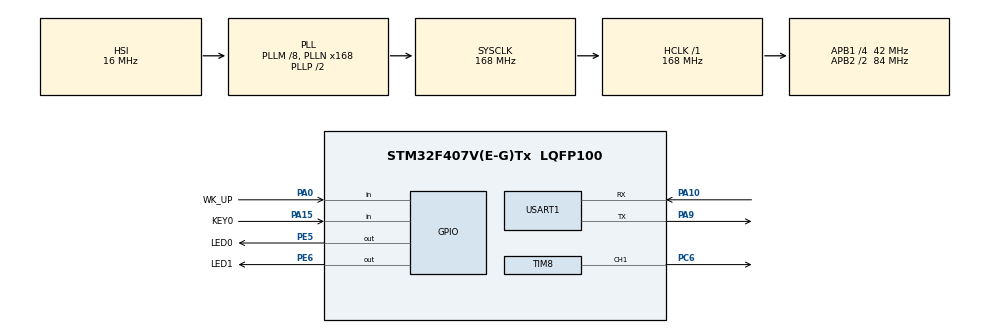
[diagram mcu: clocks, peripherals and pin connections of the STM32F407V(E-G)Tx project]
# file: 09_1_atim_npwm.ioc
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Mcu.Family=STM32F4
Mcu.Name=STM32F407V(E-G)Tx
Mcu.Package=LQFP100
NVIC.PriorityGroup=NVIC_PRIORITYGROUP_2
NVIC.TIM8_UP_TIM13_IRQn=true\:2\:1\:true\:false\:true\:true\:true\:true
NVIC.USART1_IRQn=true\:2\:2\:true\:false\:true\:true\:true\:true
PA0-WKUP.GPIO_Label=WK_UP
PA0-WKUP.GPIO_PuPd=GPIO_PULLDOWN
PA0-WKUP.Signal=GPIO_Input
PA10.Mode=Asynchronous
PA10.Signal=USART1_RX
PA13.Mode=Serial_Wire
PA13.Signal=SYS_JTMS-SWDIO
PA14.Mode=Serial_Wire
PA14.Signal=SYS_JTCK-SWCLK
PA15.GPIO_Label=KEY0
PA15.GPIO_PuPd=GPIO_PULLDOWN
PA15.Signal=GPIO_Input
PA9.Mode=Asynchronous
PA9.Signal=USART1_TX
PC14-OSC32_IN.Mode=LSE-External-Oscillator
PC14-OSC32_IN.Signal=RCC_OSC32_IN
PC15-OSC32_OUT.Mode=LSE-External-Oscillator
PC15-OSC32_OUT.Signal=RCC_OSC32_OUT
PC6.Signal=S_TIM8_CH1
PE5.GPIO_Label=LED0
PE5.GPIO_PuPd=GPIO_PULLUP
PE5.GPIO_Speed=GPIO_SPEED_FREQ_HIGH
PE5.PinState=GPIO_PIN_SET
PE5.Signal=GPIO_Output
PE6.GPIO_Label=LED1
PE6.GPIO_PuPd=GPIO_PULLUP
PE6.GPIO_Speed=GPIO_SPEED_FREQ_HIGH
PE6.PinState=GPIO_PIN_SET
PE6.Signal=GPIO_Output
PH0-OSC_IN.Mode=HSE-External-Oscillator
PH0-OSC_IN.Signal=RCC_OSC_IN
PH1-OSC_OUT.Mode=HSE-External-Oscillator
PH1-OSC_OUT.Signal=RCC_OSC_OUT
ProjectManager.HeapSize=0x200
ProjectManager.StackSize=0x400
ProjectManager.TargetToolchain=STM32CubeIDE
RCC.48MHZClocksFreq_Value=84000000
RCC.AHBFreq_Value=168000000
RCC.APB1CLKDivider=RCC_HCLK_DIV4
RCC.APB1Freq_Value=42000000
RCC.APB1TimFreq_Value=84000000
RCC.APB2CLKDivider=RCC_HCLK_DIV2
RCC.APB2Freq_Value=84000000
RCC.APB2TimFreq_Value=168000000
RCC.CortexFreq_Value=168000000
RCC.HCLKFreq_Value=168000000
RCC.HSE_VALUE=25000000
RCC.HSI_VALUE=16000000
RCC.PLLM=8
RCC.PLLN=168
RCC.SYSCLKFreq_VALUE=168000000
RCC.SYSCLKSource=RCC_SYSCLKSOURCE_PLLCLK
RCC.VCOOutputFreq_Value=336000000
SH.S_TIM8_CH1.0=TIM8_CH1,PWM Generation1 CH1
TIM8.AutoReloadPreload=TIM_AUTORELOAD_PRELOAD_ENABLE
TIM8.Channel-PWM\ Generation1\ CH1=TIM_CHANNEL_1
TIM8.OC1Preload_PWM=DISABLE
TIM8.Period=5000-1
TIM8.Prescaler=16800-1
TIM8.Pulse-PWM\ Generation1\ CH1=2500
USART1.VirtualMode=VM_ASYNC
VP_TIM8_VS_ClockSourceINT.Mode=Internal
board=custom

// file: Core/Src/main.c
/**
 ****************************************************************************************************
 * @file        main.c
 * @author      ALIENTEK
 * @brief       Advanced timer output a specified number of PWM code
 * @license     Copyright (C) 2012-2024, ALIENTEK
 ****************************************************************************************************
 * @attention
 *
 * platform     : ALIENTEK M100-STM32F407 board
 * website      : www.alientek.com
 * forum        : www.openedv.com/forum.php
 *
 * change logs  :
 * version      data         notes
 * V1.0         20240409     the first version
 *
 ****************************************************************************************************
 */

/* USER CODE BEGIN Header */

/* USER CODE END Header */
#include "main.h"
#include "tim.h"
#include "usart.h"
#include "gpio.h"

/* USER CODE BEGIN Includes */
#include "../../BSP/LED/led.h"
#include "../../BSP/KEY/key.h"
/* USER CODE END Includes */

/* USER CODE BEGIN PD */
/**
 * @brief   Displays information about the experiment
 * @param   None
 * @retval  None
 */
void stm32f407vg_show_mesg(void)
{
	/* The serial port outputs the experimental information */
	printf("\n");
	printf("********************************\r\n");
	printf("STM32F407\r\n");
	printf("ATIM PWM Count Test\r\n");
	printf("ATOM@ALIENTEK\r\n");
	printf("********************************\r\n");
	printf("\r\n");
}
/* USER CODE END PD */

void SystemClock_Config(void);

int main(void)
{
  /* USER CODE BEGIN 1 */
  uint8_t key = 0;
  uint8_t t = 0;
  /* USER CODE END 1 */

  /* MCU Configuration--------------------------------------------------------*/

  /* Reset of all peripherals, Initializes the Flash interface and the Systick. */
  HAL_Init();

  /* Configure the system clock */
  SystemClock_Config();

  /* Initialize all configured peripherals */
  MX_GPIO_Init();
  MX_USART1_UART_Init();
  MX_TIM8_Init();
  /* USER CODE BEGIN 2 */
  stm32f407vg_show_mesg();
  atim_timx_npwm_chy_set(5);      		/* Five PWM waves are output. */
  /* USER CODE END 2 */

  /* Infinite loop */
  /* USER CODE BEGIN WHILE */
  while (1)
  {
	  key = key_scan(0);             /* scan key */

	  if (key == KEY0_PRES)          /* KEY0 is pressed */
	  {
	  	 atim_timx_npwm_chy_set(5);  /* Control TIM8_CH1 output 5 PWM pulses. */
	  }

	  if (t > 20)                    /* Enter once in 200ms. */
	  {
	  	 t = 0;
	  	 LED0_TOGGLE();              /* LED0 blinks to prompt the program to run */
	  }
	  t++;
	  HAL_Delay(10);                 /* delay 10ms */
    /* USER CODE END WHILE */

  }
}

void SystemClock_Config(void)
{
  RCC_OscInitTypeDef RCC_OscInitStruct = {0};
  RCC_ClkInitTypeDef RCC_ClkInitStruct = {0};

  /** Configure the main internal regulator output voltage
  */
  __HAL_RCC_PWR_CLK_ENABLE();
  __HAL_PWR_VOLTAGESCALING_CONFIG(PWR_REGULATOR_VOLTAGE_SCALE1);

  /** Initializes the RCC Oscillators according to the specified parameters
  * in the RCC_OscInitTypeDef structure.
  */
  RCC_OscInitStruct.OscillatorType = RCC_OSCILLATORTYPE_HSI;
  RCC_OscInitStruct.HSIState = RCC_HSI_ON;
  RCC_OscInitStruct.HSICalibrationValue = RCC_HSICALIBRATION_DEFAULT;
  RCC_OscInitStruct.PLL.PLLState = RCC_PLL_ON;
  RCC_OscInitStruct.PLL.PLLSource = RCC_PLLSOURCE_HSI;
  RCC_OscInitStruct.PLL.PLLM = 8;
  RCC_OscInitStruct.PLL.PLLN = 168;
  RCC_OscInitStruct.PLL.PLLP = RCC_PLLP_DIV2;
  RCC_OscInitStruct.PLL.PLLQ = 4;
  if (HAL_RCC_OscConfig(&RCC_OscInitStruct) != HAL_OK)
  {
    Error_Handler();
  }

  /** Initializes the CPU, AHB and APB buses clocks
  */
  RCC_ClkInitStruct.ClockType = RCC_CLOCKTYPE_HCLK|RCC_CLOCKTYPE_SYSCLK
                              |RCC_CLOCKTYPE_PCLK1|RCC_CLOCKTYPE_PCLK2;
  RCC_ClkInitStruct.SYSCLKSource = RCC_SYSCLKSOURCE_PLLCLK;
  RCC_ClkInitStruct.AHBCLKDivider = RCC_SYSCLK_DIV1;
  RCC_ClkInitStruct.APB1CLKDivider = RCC_HCLK_DIV4;
  RCC_ClkInitStruct.APB2CLKDivider = RCC_HCLK_DIV2;

  if (HAL_RCC_ClockConfig(&RCC_ClkInitStruct, FLASH_LATENCY_5) != HAL_OK)
  {
    Error_Handler();
  }
}

void Error_Handler(void)
{
  __disable_irq();
  while (1)
  {
  }
}
